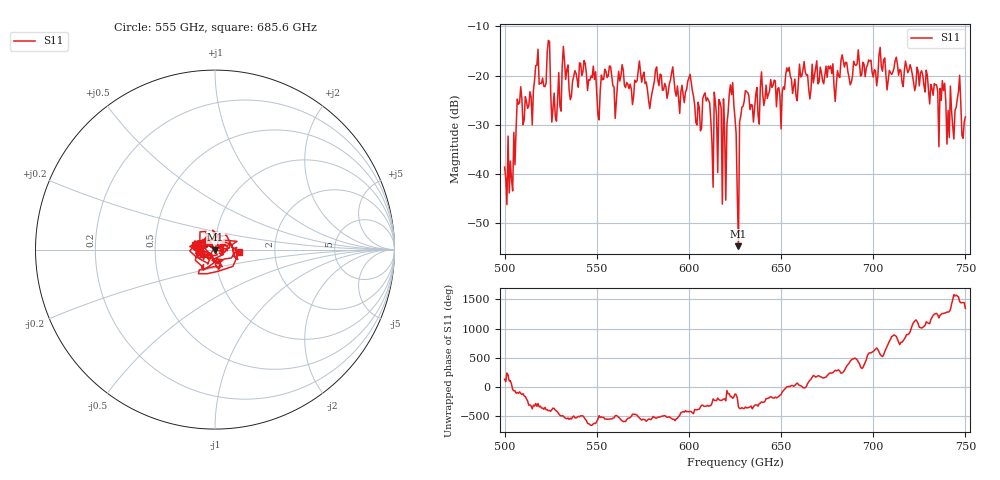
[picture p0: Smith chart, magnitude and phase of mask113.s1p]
!Created with skrf (http://scikit-rf.org).
# GHz S MA R 50.0
!freq magS11 angS11
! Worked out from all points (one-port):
!   401 points, 500 GHz to 750 GHz, reference 50 ohm
!   lowest |S11| = -54.6 dB at 626.9 GHz (marker M1), VSWR 1.00, Z = 50.2 + j0.0372 ohm
!   |S11| at or under -10 dB: start of sweep to end of sweep
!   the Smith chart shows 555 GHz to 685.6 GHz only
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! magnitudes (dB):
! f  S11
! 500 GHz  -38.6
! 504.4 GHz  -43.4
! 508.1 GHz  -25.5
! 513.8 GHz  -23.3
! 516.9 GHz  -18.0
! 523.8 GHz  -12.9
! 526.9 GHz  -23.5
! 531.2 GHz  -18.1
! 542.5 GHz  -19.2
! 551.2 GHz  -29.0
! 562.5 GHz  -21.1
! 593.8 GHz  -22.1
! 600.6 GHz  -19.7
! 605.6 GHz  -26.5
! 609.4 GHz  -25.1
! 619.4 GHz  -31.1
! 623.1 GHz  -23.8
! 625 GHz  -28.6
! 625.6 GHz  -31.8
! 626.9 GHz  -54.6
! 628.8 GHz  -26.4
! 631.2 GHz  -23.2
! 656.2 GHz  -23.6
! 687.5 GHz  -21.9
! 718.8 GHz  -19.4
! 742.5 GHz  -27.2
! 746.2 GHz  -23.2
! 750 GHz  -28.4
